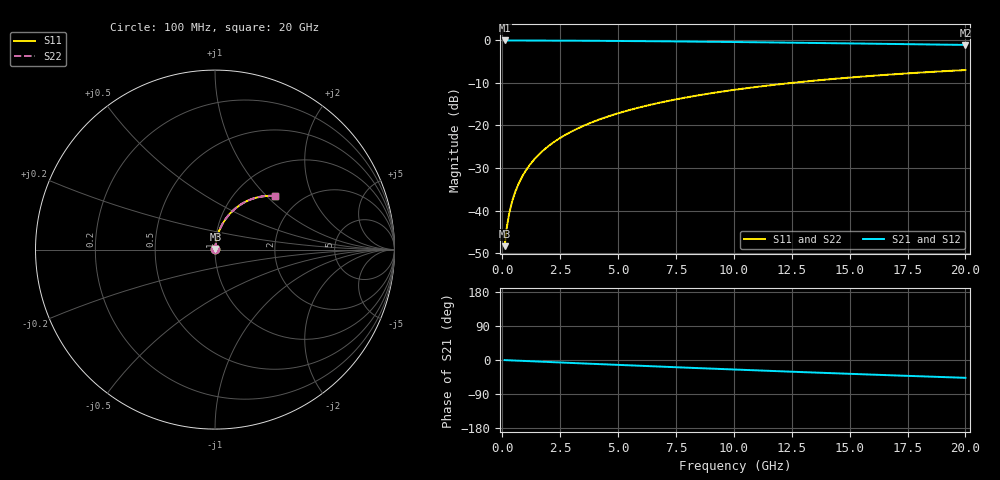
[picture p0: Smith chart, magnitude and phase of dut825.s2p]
! Touchstone file exported from HFSS 2026.1.0
!  File:  C:/ffzhzh/LocalFiles/Ansys_Project_Files/temp_train_BSMRDL_825_1783170128_43440.aedt
!  Generated:  09:03:36 PM Jul  4, 2026
!  Design:  BSMRDL
!  Project:  temp_train_BSMRDL_825_1783170128_43440
! Variables:
!  h_bsmrdl = 5.16um
!  h_ox = 20um
!  h_rdl = 5um
!  h_sub = 80um
!  h_tmrdl = 5um
!  h_tsv = 80um
!  h_via = 3um
!  l_bsmrdl = 680.13um
!  l_sub = 1080.13um
!  l_tmrdl = 200um
!  m_sub = 200um
!  pitch = 57.93um
!  r_tsv = 6um
!  s_tmrdl = 10um
!  w_bsmrdl = 22.15um
!  w_sub = 500um
!  w_tmrdl = 12um
!  x_tsv_center1 = 206um
!  x_tsv_center2 = 908.28um
!  x_tsv_center3 = 1120.28um
!  x_tsv_center4 = 1822.56um
!  x_tsv_center5 = 2034.56um
!  x_tsv_center6 = 2736.84um
# GHz S MA R 50.000000
! Terminal data exported
! Port[1] = BSM_RDL1_1_T1
! Port[2] = BSM_RDL1_1_T2
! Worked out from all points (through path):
!   200 points, 100 MHz to 20 GHz, reference 50 ohm
!   highest |S21| = -0.02 dB at 100 MHz (marker M1); lowest = -1.1 dB at 20 GHz (marker M2)
!   group delay of S21, straight-line fit = 6.54 ps
!   lowest |S11| = -48.4 dB at 100 MHz (marker M3), VSWR 1.01, Z = 50.2 + j0.307 ohm
!   |S11| at or under -10 dB: start of sweep to 12.5 GHz
!   |S22| runs from -48.4 to -7.0 dB; largest |S21 - S12| = 2.5e-14
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0.1  0.003809 53.3  0.9977 -0.3  0.9977 -0.3  0.003809 53.3
! Gamma 0 0 0 0
! Port Impedance 50 0 50 0
0.2  0.006483 67.7  0.9976 -0.5  0.9976 -0.5  0.006483 67.7
0.3  0.009257 73.4  0.9974 -0.8  0.9974 -0.8  0.009256 73.4
0.4  0.01205 76.5  0.9973 -1.1  0.9973 -1.1  0.01205 76.5
0.5  0.01486 78.3  0.9972 -1.3  0.9972 -1.3  0.01486 78.3
0.7  0.02051 80.4  0.997 -1.9  0.997 -1.9  0.02051 80.4
0.8  0.02335 81.0  0.9969 -2.1  0.9969 -2.1  0.02335 81.0
1  0.02903 81.6  0.9967 -2.6  0.9967 -2.6  0.02903 81.6
1.2  0.03471 81.9  0.9964 -3.2  0.9964 -3.2  0.03471 81.9
1.4  0.04039 81.9  0.9961 -3.7  0.9961 -3.7  0.04039 81.9
1.7  0.04888 81.6  0.9955 -4.5  0.9955 -4.5  0.04888 81.6
2  0.05733 81.2  0.9949 -5.3  0.9949 -5.3  0.05733 81.2
2.7  0.07686 79.9  0.993 -7.1  0.993 -7.1  0.07686 79.9
3.5  0.09882 78.1  0.9904 -9.1  0.9904 -9.1  0.09882 78.2
4.2  0.1177 76.5  0.9878 -10.9  0.9878 -10.9  0.1177 76.6
5  0.1389 74.7  0.9845 -12.9  0.9845 -12.9  0.1389 74.7
6.8  0.1851 70.4  0.9758 -17.4  0.9758 -17.4  0.1851 70.5
8.3  0.222 67.0  0.9674 -21.0  0.9674 -21.0  0.222 67.0
10.1  0.264 62.8  0.9562 -25.3  0.9562 -25.3  0.264 62.9
13.4  0.3346 55.5  0.9332 -33.0  0.9332 -33.0  0.3346 55.5
16.7  0.3959 48.4  0.9086 -40.2  0.9086 -40.2  0.3959 48.5
20  0.4479 41.7  0.884 -47.0  0.884 -47.0  0.448 41.8
